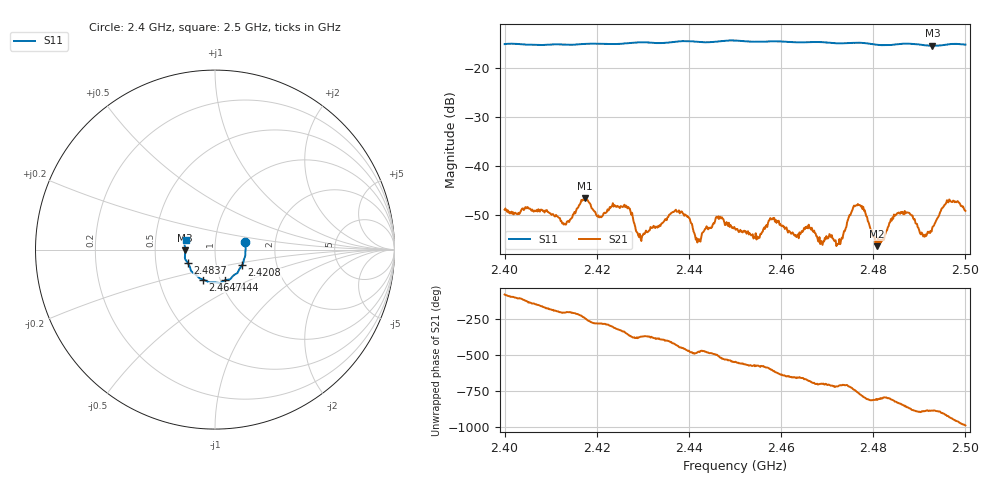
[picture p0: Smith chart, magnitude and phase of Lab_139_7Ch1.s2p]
# Hz S RI R 50
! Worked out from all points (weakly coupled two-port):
!   601 points, 2.4 GHz to 2.5 GHz, reference 50 ohm
!   highest |S21| = -46.47 dB at 2.4175 GHz (marker M1); lowest = -56.3 dB at 2.4808 GHz (marker M2)
!   lowest |S11| = -15.6 dB at 2.4928 GHz (marker M3), VSWR 1.40, Z = 35.8 - j0.35 ohm
!   |S11| at or under -10 dB: start of sweep to end of sweep
!   S12 and S22 are empty: the file has one direction only
!   S11 on the Smith chart (normalised r, x): 2.4 GHz: 1.40, +0.12; 2.4208 GHz: 1.33, -0.24; 2.444 GHz: 1.06, -0.37; 2.4647 GHz: 0.83, -0.29; 2.4837 GHz: 0.73, -0.11; 2.5 GHz: 0.72, +0.08
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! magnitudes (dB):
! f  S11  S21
! 2.4 GHz  -15.3  -48.9
! 2.413 GHz  -15.3  -51.7
! 2.4167 GHz  -15.2  -46.9
! 2.4175 GHz  -15.2  -46.5
! 2.4208 GHz  -15.2  -50.3
! 2.4263 GHz  -15.1  -48.0
! 2.4293 GHz  -14.9  -53.8
! 2.4333 GHz  -15.0  -52.2
! 2.4373 GHz  -14.7  -49.3
! 2.442 GHz  -14.8  -55.0
! 2.444 GHz  -14.9  -52.6
! 2.45 GHz  -14.5  -52.7
! 2.4647 GHz  -14.9  -53.4
! 2.4667 GHz  -14.8  -52.5
! 2.4725 GHz  -15.1  -55.8
! 2.477 GHz  -15.0  -47.9
! 2.4808 GHz  -15.4  -56.3
! 2.4833 GHz  -15.5  -52.2
! 2.4837 GHz  -15.4  -51.4
! 2.4928 GHz  -15.6  -52.4
! 2.4962 GHz  -15.3  -47.3
! 2.5 GHz  -15.4  -49.1
